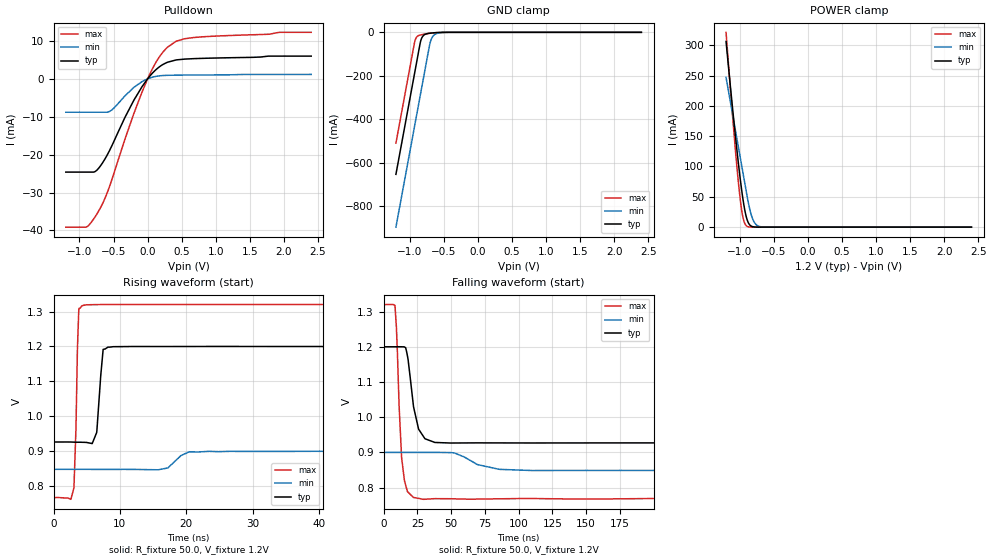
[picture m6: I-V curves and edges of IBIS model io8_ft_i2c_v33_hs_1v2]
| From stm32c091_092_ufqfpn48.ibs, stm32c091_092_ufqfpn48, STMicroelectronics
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[Model]   io8_ft_i2c_v33_hs_1v2
Model_type I/O_open_drain
Polarity   Non-Inverting
Enable   Active-Low
| CAP_THRESHOLD on pad IOFT is "UDTCAPC" :
| Rising=30.0% of vddiom   Falling=70.0% of vddiom
| C_comp min and max val. don't necessarily correlate with the min and max pvt
| but are the smallest and greatest pad capacitance found.
| var   typ   min   max
C_comp   1.88240pF  1.74300pF  1.91440pF
|C_comp_pulldown   1.88240pF  1.74300pF  1.91440pF
Vinl = 450.0mV
Vinh = 660.0mV
Vmeas = 600.0mV   | Reference voltage for timing measurements
Cref  = 50.0pF   | Timing specification test load capacitance value
Rref  = 1.0MOhm   | Timing specification test load resistance value
Vref  = 660.0mV   | Timing specification test load voltage
[Model Spec]
| TIME_THRESHOLD on pin ZII2CV12 is "CMOS" :
| Rising=50.0% of vdd   Falling=50.0% of vdd
Vinl 458.70000mV 361.70000mV 499.70000mV
Vinh 728.30000mV 549.30000mV 792.30000mV
| variable   typ   min   max
[Temperature Range] 25.0 125.0 -40.0
| variable   typ   min   max
[Voltage Range] 1.2V 900.0mV 1.32V
| variable   typ   min   max
[POWER Clamp Reference] 1.2V 900.0mV 1.32V
| variable   typ   min   max
[GND Clamp Reference] 0V 0V 0V
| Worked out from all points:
|   slope of the pulldown table from 0 to 0.18 V, typ, clamps not added: 55.2 ohm
|   GND clamp passes 1 mA (typ) near -0.58 V on its own axis
|   POWER clamp passes 1 mA (typ) near -0.81 V on its own axis
|   rising waveform, R_fixture 50.0, V_fixture 1.2V: 20-80 % time 637ps typ, 1.84ns min, 407ps max; typ from 0.927 V to 1.2 V
|   falling waveform, R_fixture 50.0, V_fixture 1.2V: 20-80 % time 6.31ns typ, 19.2ns min, 3.57ns max; typ from 1.2 V to 0.927 V
[POWER Clamp]
-1.2V     306.2mA    246.9mA    321.2mA
-1.09V    180mA      177.2mA    163.4mA
-1.05V    136.9mA    151.8mA    110.9mA
-1.01V    96.55mA    126.4mA    64.02mA
-960mV    52.29mA    94.73mA    20.68mA
-930mV    31.08mA    75.71mA    7.282mA
-900mV    15.67mA    56.69mA    2.025mA
-860mV    4.779mA    33.42mA    315.2uA
-810mV    823.2uA    13.62mA    29.21uA
-760mV    129.2uA    4.248mA    2.687uA
-690mV    9.442uA    651.7uA    95.02nA
2.4V      0A         0A         0A
[GND Clamp]
-1.2V     -654.2mA   -897.4mA   -510.5mA
-920mV    -178.2mA   -421.4mA   -38.03mA
-890mV    -127.2mA   -370.4mA   -19.79mA
-840mV    -43.84mA   -285.4mA   -12.07mA
-820mV    -25.28mA   -251.4mA   -10.64mA
-780mV    -10.73mA   -183.4mA   -8.317mA
-700mV    -3.985mA   -50.14mA   -4.515mA
-670mV    -2.94mA    -24.28mA   -3.345mA
-640mV    -2.115mA   -12.33mA   -2.341mA
-570mV    -791.5uA   -2.935mA   -746.3uA
-440mV    -36.45uA   -184.1uA   -16.55uA
2.4V      342.4pA    36.99nA    239.3pA
| variable   typ   min   max
[Pullup Reference] 1.2V 900.0mV 1.32V
| variable   typ   min   max
[Pulldown Reference] 0V 0V 0V
[Pulldown]
-1.2V     -24.6mA    -8.807mA   -39.12mA
-890mV    -24.6mA    -8.807mA   -39.02mA
-780mV    -24.54mA   -8.807mA   -36.66mA
-710mV    -23.4mA    -8.807mA   -34.61mA
-530mV    -17.87mA   -8.266mA   -26.91mA
-330mV    -10.09mA   -4.455mA   -15.79mA
-80mV     -2.02mA    -710uA     -3.413mA
110mV     2.211mA    605.8uA    3.97mA
290mV     4.374mA    930.5uA    8.331mA
420mV     4.991mA    971.4uA    9.931mA
670mV     5.322mA    1.008mA    10.89mA
2.4V      5.995mA    1.165mA    12.27mA
[Ramp]
dV/dt_r 163.82744mV/636.89328ps 31.02458mV/1.843ns 331.15733mV/407.33778ps
dV/dt_f 163.97466mV/6.30514ns 30.75314mV/18.83485ns 330.58856mV/3.57287ns
R_load = 50.0
| Removed startup time: 0s 0s 0s  .
| Removed end time: 79.875ns.
[Rising Waveform]
R_fixture   = 50.0
V_fixture   = 1.2V
V_fixture_min = 900.0mV
V_fixture_max = 1.32V
0s        926.8mV    848.6mV    768mV
3.075ns   926.4mV    848.6mV    797.2mV
3.375ns   926.3mV    848.6mV    963.6mV
3.6ns     926.2mV    848.6mV    1.194V
3.8ns     926.2mV    848.6mV    1.302V
4.425ns   926mV      848.6mV    1.317V
6.5ns     954mV      848.5mV    1.32V
7.475ns   1.192V     848.5mV    1.32V
8.2ns     1.198V     848.5mV    1.32V
79.88ns   1.2V       900.3mV    1.32V
| Removed startup time: 0s 0s 0s  .
| Removed end time: 299.875ns.
[Falling Waveform]
R_fixture   = 50.0
V_fixture   = 1.2V
V_fixture_min = 900.0mV
V_fixture_max = 1.32V
0s        1.2V       900mV      1.32V
8.375ns   1.2V       900mV      1.318V
9.45ns    1.2V       900mV      1.254V
13.3ns    1.2V       900mV      885.3mV
17.3ns    1.181V     900mV      793.1mV
22.03ns   1.033V     900mV      772mV
25.88ns   966mV      900mV      769.2mV
37.9ns    928.2mV    900mV      768.5mV
85.68ns   926.9mV    851.8mV    768.1mV
299.9ns   926.7mV    848.7mV    769mV
